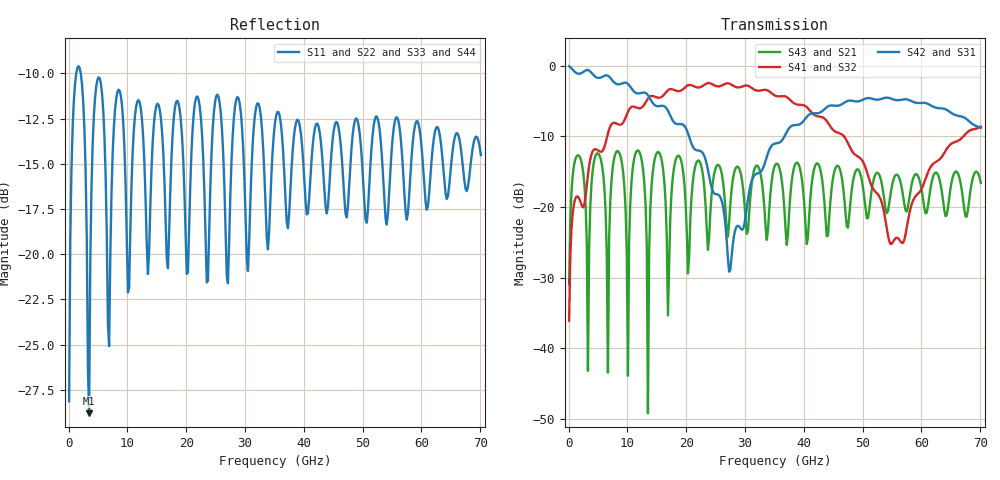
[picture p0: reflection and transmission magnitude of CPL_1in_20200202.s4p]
! www.PolarInstruments.com
! File Export V10.11 [9.03]
! For hxji@mail.xidian.edu.cn;QQ=47399897
! File : D:\SJTU\Bachelor\thesis\Multi-line\transmission-line-params-extractor\data\CPL_1in_20200202.s4p
! Polar  PCB Transmission Line Field Solver  v11.04.00
# MHz S RI R 50.00
! Line Length = 0.025m ( 1.00 inch )
!  PORT NUMBERING (Classic style)
!  PORT#  PORT#
!  Z1 = Z2 = 50.00  Z3 = Z4 = 50.00
!  1 --|  |-- 3
!  2 --|  |-- 4
! FREQ MHz  S11  S12  S13  S14
!  S21  S22  S23  S24
!  S31  S32  S33  S34
!  S41  S42  S43  S44
!  REAL  IMAG  REAL  IMAG  REAL  IMAG  REAL  IMAG
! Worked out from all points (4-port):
!   351 points, 100 MHz to 70.1 GHz, reference 50 ohm
!   strongest paths, dB at 100 MHz, 17.5 GHz, 35.1 GHz, 52.7 GHz, 70.1 GHz:
!     S42: 0.0, -7.4, -11.0, -4.8, -8.8
!     S31: 0.0, -7.4, -11.0, -4.8, -8.8
!     S41: -36.1, -3.3, -4.2, -18.3, -8.6
!     S32: -36.1, -3.3, -4.2, -18.3, -8.6
!     S43: -30.9, -18.1, -14.1, -15.3, -16.6
!     S21: -30.9, -18.1, -14.1, -15.3, -16.6
!   lowest |S11| = -28.8 dB at 3.5 GHz (marker M1), VSWR 1.08, Z = 52.7 + j2.58 ohm
!   |S11| at or under -10 dB: start of sweep to 1.319 GHz; 2.072 GHz to end of sweep
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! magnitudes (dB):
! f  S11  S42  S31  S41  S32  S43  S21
! 100 MHz  -28.1  0.0  0.0  -36.1  -36.1  -30.9  -30.9
! 3.5 GHz  -28.8  -0.7  -0.7  -14.2  -14.2  -25.9  -25.9
! 12.1 GHz  -11.6  -3.9  -3.9  -6.0  -6.0  -12.3  -12.3
! 13.5 GHz  -21.1  -4.2  -4.2  -4.7  -4.7  -49.2  -49.2
! 14.9 GHz  -11.8  -5.7  -5.7  -4.4  -4.4  -12.5  -12.5
! 27.3 GHz  -19.3  -29.2  -29.2  -2.5  -2.5  -22.2  -22.2
! 70.1 GHz  -14.5  -8.8  -8.8  -8.6  -8.6  -16.6  -16.6
